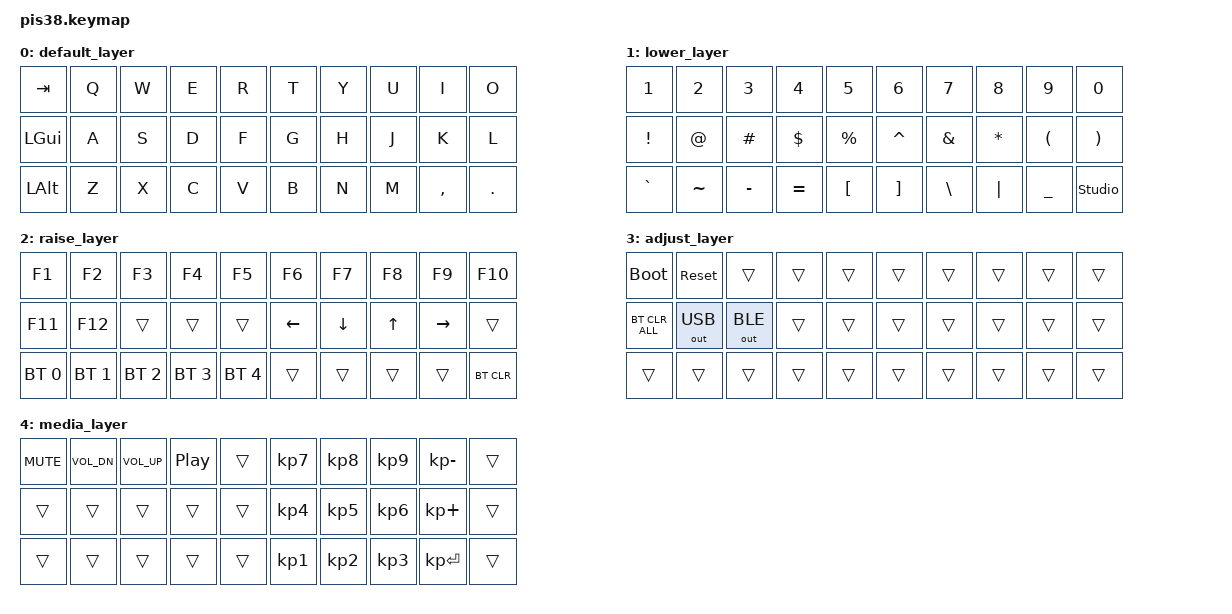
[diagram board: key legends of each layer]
#include <behaviors.dtsi>
#include <dt-bindings/zmk/keys.h>
#include <dt-bindings/zmk/bt.h>
#include <dt-bindings/zmk/outputs.h>

/ {
    keymap {
        compatible = "zmk,keymap";

        default_layer {
            // TAB   Q W E R T Y U I O P
            // LGUI  A S D F G H J K L
            // LALT  Z X C V B N M , .
            // LCTRL LOWER SPACE SPACE RAISE RALT BSPC RET ; /
            bindings = <
                &kp TAB   &kp Q &kp W &kp E &kp R &kp T &kp Y &kp U &kp I    &kp O
                &kp LGUI  &kp A &kp S &kp D &kp F &kp G &kp H &kp J &kp K    &kp L
                &kp LALT  &kp Z &kp X &kp C &kp V &kp B &kp N &kp M &kp COMMA &kp DOT

            >;
        };

        lower_layer {
            // 숫자 / 기호   (맨 왼쪽 아래 = ADJUST 레이어 진입, 맨 오른쪽 아래 = studio_unlock)
            bindings = <
                &kp N1    &kp N2    &kp N3    &kp N4    &kp N5    &kp N6    &kp N7    &kp N8    &kp N9   &kp N0
                &kp EXCL  &kp AT    &kp HASH  &kp DLLR  &kp PRCNT &kp CARET &kp AMPS  &kp STAR  &kp LPAR &kp RPAR
                &kp GRAVE &kp TILDE &kp MINUS &kp EQUAL &kp LBKT  &kp RBKT  &kp BSLH  &kp PIPE  &kp UNDER &studio_unlock

            >;
        };

        raise_layer {
            // 펑션키 / 방향키 / 블루투스   (맨 오른쪽 아래 = MEDIA 레이어 진입)
            bindings = <
                &kp F1        &kp F2        &kp F3       &kp F4       &kp F5       &kp F6   &kp F7    &kp F8    &kp F9    &kp F10
                &kp F11       &kp F12       &trans       &trans       &trans       &kp LEFT &kp DOWN  &kp UP    &kp RIGHT &trans
                &bt BT_SEL 0  &bt BT_SEL 1  &bt BT_SEL 2 &bt BT_SEL 3 &bt BT_SEL 4 &trans   &trans    &trans    &trans    &bt BT_CLR

            >;
        };

        adjust_layer {
            // 시스템: 부트로더 진입 / 리셋 / 블루투스 전체 초기화 / USB-BLE 출력 전환
            bindings = <
                &bootloader &sys_reset &trans &trans &trans &trans &trans &trans &trans &trans
                &bt BT_CLR_ALL &out OUT_USB &out OUT_BLE &trans &trans &trans &trans &trans &trans &trans
                &trans &trans &trans &trans &trans &trans &trans &trans &trans &trans

            >;
        };

        media_layer {
            // 미디어 컨트롤 (왼쪽) / 넘패드 (오른쪽)
            bindings = <
                &kp C_MUTE &kp C_VOL_DN &kp C_VOL_UP &kp C_PP &trans &kp KP_N7 &kp KP_N8 &kp KP_N9 &kp KP_MINUS &trans
                &trans     &trans       &trans       &trans   &trans &kp KP_N4 &kp KP_N5 &kp KP_N6 &kp KP_PLUS  &trans
                &trans     &trans       &trans       &trans   &trans &kp KP_N1 &kp KP_N2 &kp KP_N3 &kp KP_ENTER &trans

            >;
        };
    };
};
